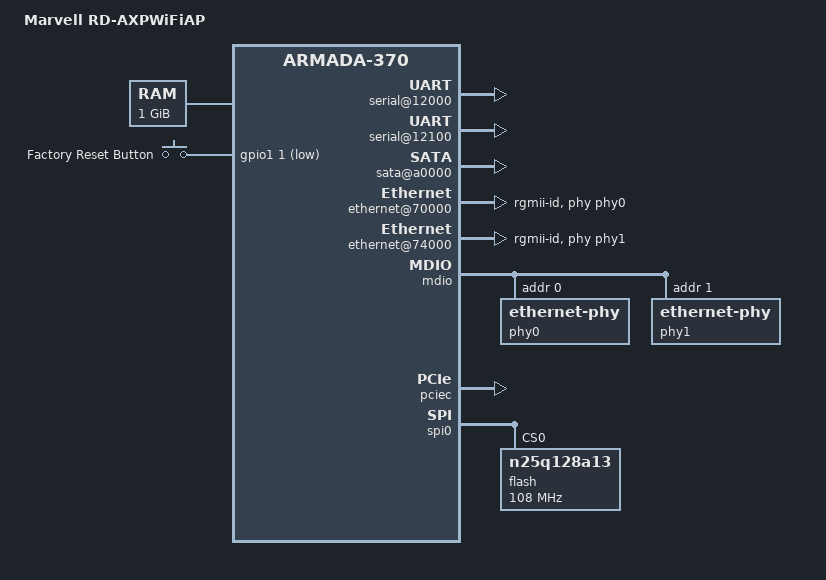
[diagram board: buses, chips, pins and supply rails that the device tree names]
// SPDX-License-Identifier: (GPL-2.0+ OR MIT)
/*
 * Device Tree file for Marvell RD-AXPWiFiAP.
 *
 * Note: this board is shipped with a new generation boot loader that
 * remaps internal registers at 0xf1000000. Therefore, if earlyprintk
 * is used, the CONFIG_DEBUG_MVEBU_UART0_ALTERNATE option or the
 * CONFIG_DEBUG_MVEBU_UART1_ALTERNATE option should be used.
 *
 * Copyright (C) 2013 Marvell
 *
 * Thomas Petazzoni <thomas.petazzoni@free-electrons.com>
 */

/dts-v1/;
#include <dt-bindings/gpio/gpio.h>
#include <dt-bindings/input/input.h>
#include "armada-xp-mv78230.dtsi"

/ {
	model = "Marvell RD-AXPWiFiAP";
	compatible = "marvell,rd-axpwifiap", "marvell,armadaxp-mv78230", "marvell,armadaxp", "marvell,armada-370-xp";

	chosen {
		stdout-path = "serial0:115200n8";
	};

	memory@0 {
		device_type = "memory";
		reg = <0x00000000 0x00000000 0x00000000 0x40000000>; /* 1GB */
	};

	soc {
		ranges = <MBUS_ID(0xf0, 0x01) 0 0 0xf1000000 0x100000
			  MBUS_ID(0x01, 0x1d) 0 0 0xfff00000 0x100000
			  MBUS_ID(0x09, 0x09) 0 0 0xf1100000 0x10000
			  MBUS_ID(0x09, 0x05) 0 0 0xf1110000 0x10000>;

		internal-regs {
			/* UART0 */
			serial@12000 {
				status = "okay";
			};

			/* UART1 */
			serial@12100 {
				status = "okay";
			};

			sata@a0000 {
				nr-ports = <1>;
				status = "okay";
			};

			ethernet@70000 {
				pinctrl-0 = <&ge0_rgmii_pins>;
				pinctrl-names = "default";
				status = "okay";
				phy = <&phy0>;
				phy-mode = "rgmii-id";
			};
			ethernet@74000 {
				pinctrl-0 = <&ge1_rgmii_pins>;
				pinctrl-names = "default";
				status = "okay";
				phy = <&phy1>;
				phy-mode = "rgmii-id";
			};
		};
	};

	gpio_keys {
		compatible = "gpio-keys";
		#address-cells = <1>;
		#size-cells = <0>;
		pinctrl-0 = <&keys_pin>;
		pinctrl-names = "default";

		reset {
			label = "Factory Reset Button";
			linux,code = <KEY_SETUP>;
			gpios = <&gpio1 1 GPIO_ACTIVE_LOW>;
		};
	};
};

&mdio {
	phy0: ethernet-phy@0 {
		reg = <0>;
	};

	phy1: ethernet-phy@1 {
		reg = <1>;
	};
};

&pciec {
	status = "okay";

	/* First mini-PCIe port */
	pcie@1,0 {
		/* Port 0, Lane 0 */
		status = "okay";
	};

	/* Second mini-PCIe port */
	pcie@2,0 {
		/* Port 0, Lane 1 */
		status = "okay";
	};

	/* Renesas uPD720202 USB 3.0 controller */
	pcie@3,0 {
		/* Port 0, Lane 3 */
		status = "okay";
	};
};

&pinctrl {
	pinctrl-0 = <&phy_int_pin>;
	pinctrl-names = "default";

	keys_pin: keys-pin {
		marvell,pins = "mpp33";
		marvell,function = "gpio";
	};

	phy_int_pin: phy-int-pin {
		marvell,pins = "mpp32";
		marvell,function = "gpio";
	};
};

&spi0 {
	status = "okay";

	flash@0 {
		#address-cells = <1>;
		#size-cells = <1>;
		compatible = "n25q128a13", "jedec,spi-nor";
		reg = <0>; /* Chip select 0 */
		spi-max-frequency = <108000000>;
	};
};
